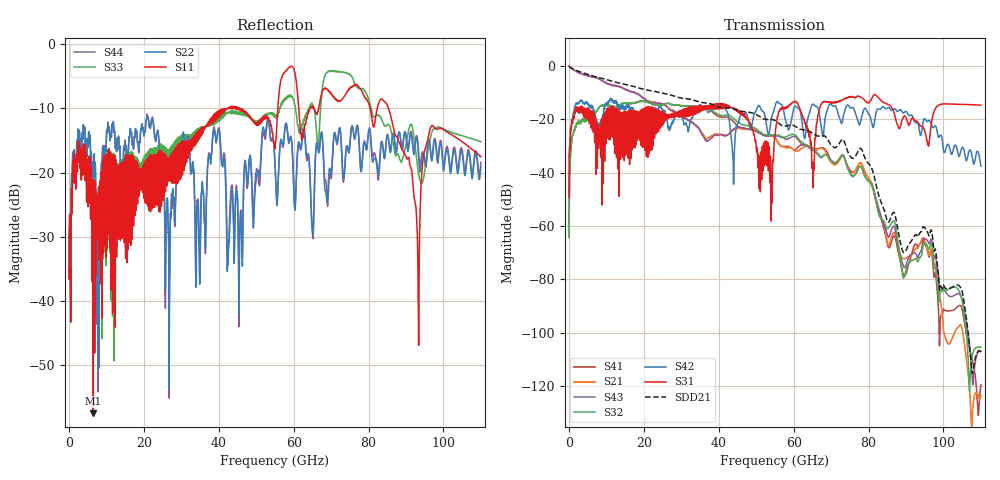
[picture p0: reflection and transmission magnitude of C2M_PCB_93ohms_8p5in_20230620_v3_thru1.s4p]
! Info: Touchstone file created by Circ.  Input file=C2M_PCB_93ohms_8p5in_20230620_v3.circ
# Hz S RI R 50
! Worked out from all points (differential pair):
!   11000 points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, 10 MHz to 110 GHz, reference 50 ohm
!   strongest paths, dB at 10 MHz, 27.51 GHz, 55.01 GHz, 82.51 GHz, 110 GHz:
!     S31: -49.3, -19.2, -26.5, -11.7, -14.7
!     S42: -49.1, -21.5, -15.1, -16.1, -37.6
!     S32: -64.2, -14.5, -25.8, -54.3, -105.3
!     S43: -0.1, -16.9, -26.2, -52.4, -107.0
!     S21: -0.1, -16.6, -26.8, -54.2, -123.5
!     S41: -64.2, -14.6, -27.0, -53.2, -119.5
!   taken as a pair (ports 3,1 in; 4,2 out), SDD21 dB: -0.1, -11.1, -20.5, -47.5, -107.3
!   lowest |S11| = -57.5 dB at 6.47 GHz (marker M1), VSWR 1.00, Z = 50.1 + j0.118 ohm
!   |S11| at or under -10 dB: start of sweep to 42.35 GHz; 45.8 GHz to 55.75 GHz (9.957 GHz wide, 19.6 % of centre); 85.29 GHz to end of sweep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
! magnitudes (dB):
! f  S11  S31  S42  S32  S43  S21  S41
! 10 MHz  -36.5  -49.3  -49.1  -64.2  -0.1  -0.1  -64.2
! 6.47 GHz  -57.5  -24.5  -17.0  -18.4  -4.2  -4.2  -18.3
! 54.08 GHz  -12.9  -42.5  -19.5  -25.8  -26.2  -26.1  -26.2
! 60.17 GHz  -4.1  -13.4  -15.4  -25.8  -26.4  -31.6  -31.6
! 65.03 GHz  -9.8  -36.5  -14.4  -31.2  -31.6  -31.2  -30.8
! 89.35 GHz  -16.7  -19.1  -17.7  -79.5  -75.2  -72.3  -78.3
! 110 GHz  -17.5  -14.7  -37.6  -105.3  -107.0  -123.5  -119.5
